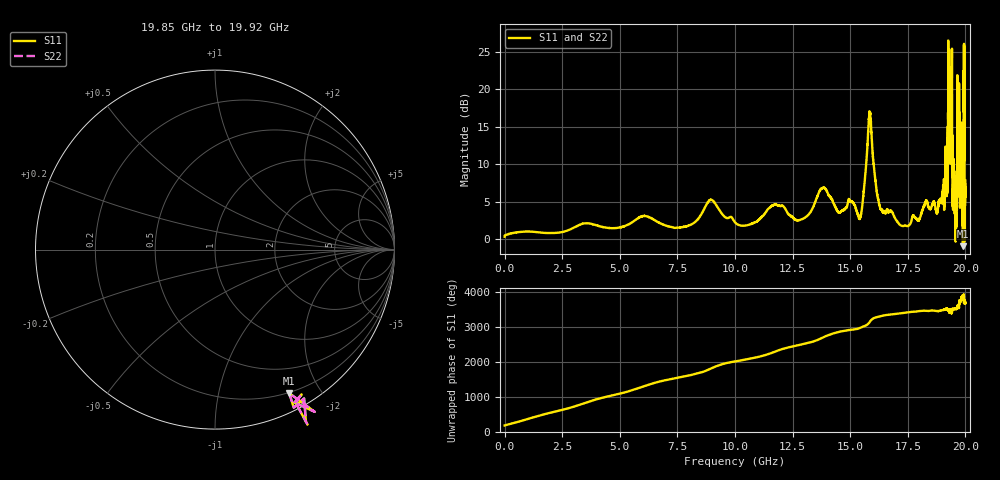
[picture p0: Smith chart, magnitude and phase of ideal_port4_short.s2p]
! Created with skrf (http://scikit-rf.org).
# GHz S RI R 50.0
!freq ReS11 ImS11 ReS21 ImS21 ReS12 ImS12 ReS22 ImS22
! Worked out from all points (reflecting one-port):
!   10001 points, 1 MHz to 20 GHz, reference 50 ohm
!   lowest |S11| = -0.9 dB at 19.9 GHz (marker M1), VSWR 19.12, Z = 9.6 - j81.3 ohm
!   phase of S11 starts at 179 deg and turns +3496 deg over the sweep
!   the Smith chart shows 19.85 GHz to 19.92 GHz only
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0.001  -1.041 0.0109  0 0  0 0  -1.041 0.0109
3.334833  0.4786 1.169  0 0  0 0  0.4786 1.169
5.898705  -1.408 -0.1045  0 0  0 0  -1.408 -0.1045
6.668667  1.249 -0.3504  0 0  0 0  1.249 -0.3504
8.954552  1.829 0.1669  0 0  0 0  1.829 0.1669
10.0005  -1.155 -0.5904  0 0  0 0  -1.155 -0.5904
13.33433  1.11 1.116  0 0  0 0  1.11 1.116
13.81631  -2.187 0.2336  0 0  0 0  -2.187 0.2336
14.15229  -0.1259 -1.894  0 0  0 0  -0.1259 -1.894
15.00425  1.556 0.8846  0 0  0 0  1.556 0.8846
15.59422  -1.435 1.563  0 0  0 0  -1.435 1.563
15.75021  -4.242 -0.3234  0 0  0 0  -4.242 -0.3234
15.86621  0.5984 -6.833  0 0  0 0  0.5984 -6.833
15.9882  3.503 -0.4038  0 0  0 0  3.503 -0.4038
16.66817  -0.3385 1.486  0 0  0 0  -0.3385 1.486
18.83606  -1.566 -0.8053  0 0  0 0  -1.566 -0.8053
19.14604  -0.3826 -2.754  0 0  0 0  -0.3826 -2.754
19.26804  -3.478 -8.407  0 0  0 0  -3.478 -8.407
19.35603  -0.6318 -3.503  0 0  0 0  -0.6318 -3.503
19.63402  0.7562 -2.367  0 0  0 0  0.7562 -2.367
19.90001  0.4136 -0.8  0 0  0 0  0.4136 -0.8
20  0.634 2.382  0 0  0 0  0.634 2.382
